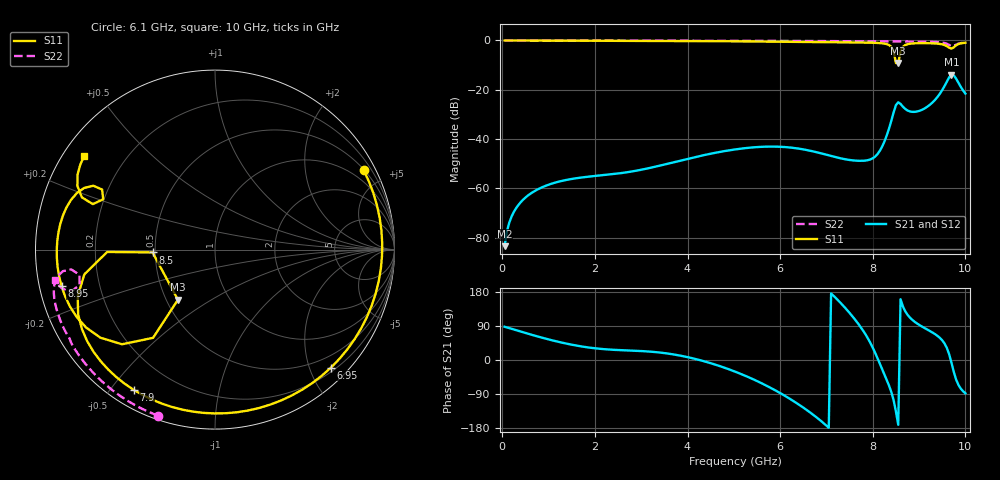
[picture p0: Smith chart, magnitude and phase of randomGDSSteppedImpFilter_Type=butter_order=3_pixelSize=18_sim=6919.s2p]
! freq	dB(S11)	phase(S11)	dB(S12)	phase(S12)
!  dB(S21)	phase(S21)	dB(S22)	phase(S22)
!S-par simulation data
#  GHz  S  DB  R 50
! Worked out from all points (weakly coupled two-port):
!   200 points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, 50 MHz to 10 GHz, reference 50 ohm
!   highest |S21| = -13.91 dB at 9.7 GHz (marker M1); lowest = -83.5 dB at 50 MHz (marker M2)
!   lowest |S11| = -9.2 dB at 8.55 GHz (marker M3), VSWR 2.07, Z = 28.7 - j18.2 ohm
!   |S11| at or under -10 dB: nowhere
!   |S22| runs from -2.3 to 0.0 dB; largest |S21 - S12| = 0
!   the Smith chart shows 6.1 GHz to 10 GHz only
!   S11 on the Smith chart (normalised r, x): 6.1 GHz: 0.53, +3.93; 6.95 GHz: 0.27, -2.36; 7.9 GHz: 0.07, -0.57; 8.5 GHz: 0.48, -0.02; 8.95 GHz: 0.07, -0.12; 10 GHz: 0.06, +0.32
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0.05  -0.01 -2.9  -83.45 87.7  -83.45 87.7  -0.00 -1.0
0.25  -0.02 -14.1  -69.54 80.5  -69.54 80.5  -0.01 -4.9
0.55  -0.04 -30.7  -62.96 69.5  -62.96 69.5  -0.01 -10.7
1.75  -0.11 -92.9  -55.50 35.0  -55.50 35.0  -0.04 -33.5
3.4  -0.19 -168.4  -50.79 19.7  -50.79 19.7  -0.08 -63.6
4.25  -0.25 151.2  -46.95 0.2  -46.95 0.2  -0.11 -78.3
5.05  -0.35 106.0  -44.15 -31.8  -44.15 -31.8  -0.14 -91.8
5.6  -0.44 68.1  -43.15 -61.4  -43.15 -61.4  -0.17 -100.9
6.1  -0.55 28.1  -43.24 -94.4  -43.24 -94.4  -0.20 -109.0
6.7  -0.67 -24.0  -44.95 -143.3  -44.95 -143.3  -0.23 -118.7
6.95  -0.71 -45.5  -46.12 -167.9  -46.12 -167.9  -0.25 -122.7
7.4  -0.78 -82.3  -48.18 138.1  -48.18 138.1  -0.29 -130.0
7.9  -0.89 -120.1  -48.53 55.8  -48.53 55.8  -0.33 -138.2
8.15  -1.07 -139.8  -44.83 -8.9  -44.83 -8.9  -0.36 -142.3
8.35  -1.85 -161.2  -35.79 -67.2  -35.79 -67.2  -0.38 -145.8
8.5  -9.17 -177.4  -26.23 -135.9  -26.23 -135.9  -0.44 -148.4
8.55  -9.18 -126.5  -25.08 -171.1  -25.08 -171.1  -0.46 -149.1
8.65  -2.62 -134.5  -26.85 141.5  -26.85 141.5  -0.44 -150.7
8.95  -1.12 -166.6  -28.84 96.8  -28.84 96.8  -0.47 -156.2
9.5  -1.59 157.9  -20.12 51.9  -20.12 51.9  -0.86 -168.9
9.7  -3.31 155.8  -13.91 -7.5  -13.91 -7.5  -2.29 -169.5
10  -0.95 144.5  -21.56 -87.9  -21.56 -87.9  -0.84 -169.3
